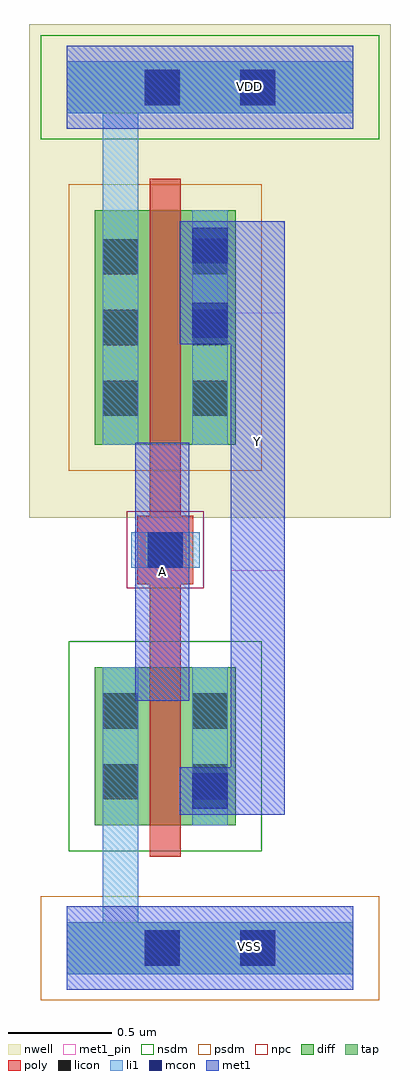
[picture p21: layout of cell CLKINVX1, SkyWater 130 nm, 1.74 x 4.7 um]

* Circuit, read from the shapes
.subckt CLKINVX1 A VDD VSS Y
XM1 Y A VSS VSS sky130_fd_pr__nfet_01v8 w=0.76 l=0.15
XM2 Y A VDD VDD sky130_fd_pr__pfet_01v8 w=1.13 l=0.15
.ends

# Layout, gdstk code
import gdstk
lib = gdstk.Library(unit=1e-6, precision=1e-09)
def R(c, l, rs):  # rectangles x0, y0, x1, y1
    for r in rs: c.add(gdstk.rectangle(r[:2], r[2:], *l))
def A(c, l, x, y, w, h, nx, ny, dx, dy):  # array of equal rectangles
    R(c, l, [(x+i*dx, y+j*dy, x+i*dx+w, y+j*dy+h) for i in range(nx) for j in range(ny)])
nwell = (64, 20)
diff = (65, 20)
tap = (65, 44)
poly = (66, 20)
licon = (66, 44)
li1 = (67, 20)
mcon = (67, 44)
met1_pin = (68, 16)
met1 = (68, 20)
nsdm = (93, 44)
psdm = (94, 20)
npc = (95, 20)

clkinvx1 = lib.new_cell('CLKINVX1')
R(clkinvx1, nwell, [(-0.18,2.07,1.56,4.445)])
R(clkinvx1, diff, [(0.135,0.59,0.815,1.35), (0.135,2.42,0.815,3.55)])
R(clkinvx1, tap, [(0,-0.125,1.38,0.125), (0,4.015,1.38,4.265)])
R(clkinvx1, poly, [(0.4,0.44,0.55,1.75), (0.34,1.75,0.61,2.08), (0.4,2.08,0.55,3.7)])
A(clkinvx1, licon, 0.175, 2.56, 0.17, 0.17, 1, 3, 0, 0.34)
A(clkinvx1, licon, 0.605, 2.56, 0.17, 0.17, 1, 3, 0, 0.34)
R(clkinvx1, licon, [(0.375,-0.085,0.545,0.085), (0.835,-0.085,1.005,0.085), (0.175,0.715,0.345,0.885), (0.605,0.715,0.775,0.885), (0.175,1.055,0.345,1.225), (0.605,1.055,0.775,1.225), (0.39,1.83,0.56,2), (0.375,4.055,0.545,4.225), (0.835,4.055,1.005,4.225)])
R(clkinvx1, li1, [(0,-0.125,1.38,0.125), (0.175,0.125,0.345,1.35), (0.605,0.59,0.775,1.35), (0.31,1.83,0.64,2), (0.175,2.42,0.345,4.015), (0.605,2.42,0.775,3.55), (0,4.015,1.38,4.265)])
R(clkinvx1, mcon, [(0.375,-0.085,0.545,0.085), (0.835,-0.085,1.005,0.085), (0.605,0.67,0.775,0.84), (0.39,1.83,0.56,2), (0.605,2.935,0.775,3.105), (0.605,3.295,0.775,3.465), (0.375,4.055,0.545,4.225), (0.835,4.055,1.005,4.225)])
R(clkinvx1, met1_pin, [(0.33,1.19,0.59,2.43), (0.79,1.815,1.05,3.055)])
R(clkinvx1, met1, [(0,-0.2,1.38,0.2), (0.545,0.64,1.05,0.87), (0.79,0.87,1.05,2.905), (0.33,1.19,0.59,2.43), (0.545,2.905,1.05,3.495), (0,3.94,1.38,4.34)])
R(clkinvx1, nsdm, [(0.01,0.465,0.94,1.475), (-0.125,3.89,1.505,4.39)])
R(clkinvx1, psdm, [(-0.125,-0.25,1.505,0.25), (0.01,2.295,0.94,3.675)])
R(clkinvx1, npc, [(0.29,1.73,0.66,2.1)])
clkinvx1.add(gdstk.Label('VSS', (0.88,0.005), layer=68, texttype=5))
clkinvx1.add(gdstk.Label('VDD', (0.88,4.145), layer=68, texttype=5))
clkinvx1.add(gdstk.Label('Y', (0.92,2.435), layer=68, texttype=5))
clkinvx1.add(gdstk.Label('A', (0.46,1.81), layer=68, texttype=5))

lib.write_gds('CLKINVX1.gds')
